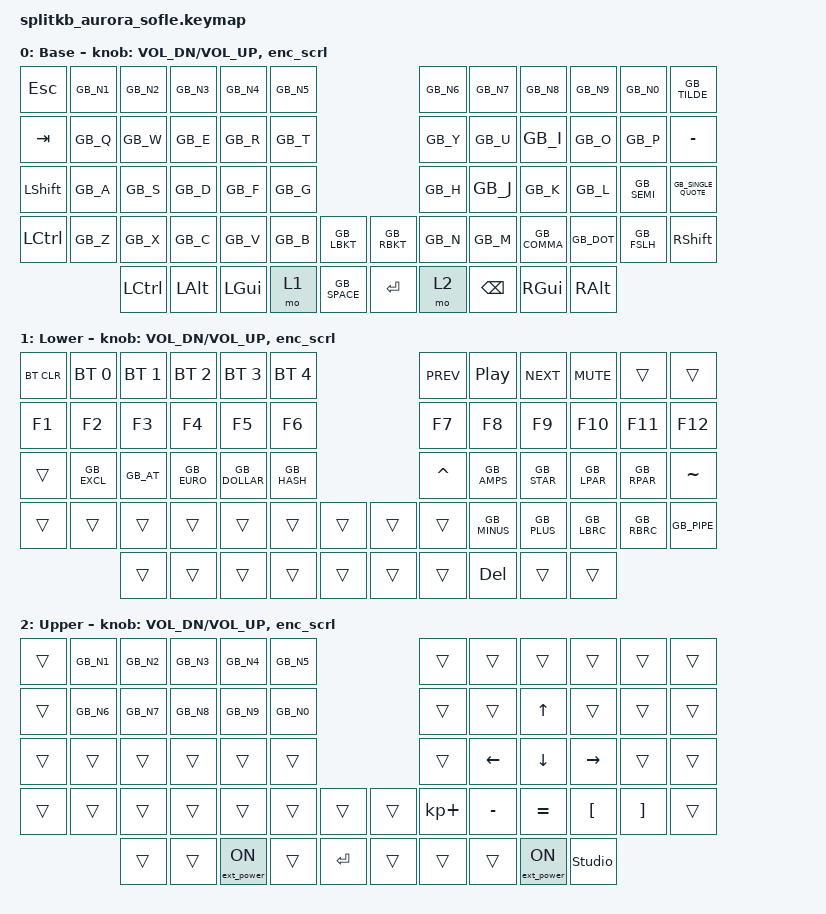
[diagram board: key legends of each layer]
/*
 * Copyright (c) 2023 The ZMK Contributors
 *
 * SPDX-License-Identifier: MIT
 */

#include <behaviors.dtsi>
#include <dt-bindings/zmk/keys.h>
#include <dt-bindings/zmk/bt.h>
#include <dt-bindings/zmk/ext_power.h>
#include <locale/keys_en_gb_extended.h>
#include <dt-bindings/zmk/pointing.h>

/* Uncomment this block if using RGB
&led_strip {
    chain-length = <6>;
    // chain-length = <35>; // Uncomment if using both per-key and underglow LEDs
    // chain-length = <29>; // Uncomment if using only per-key LEDs.
};
 */

&nice_view_spi {
    cs-gpios = <&pro_micro 0 GPIO_ACTIVE_HIGH>;
};

/ {
    behaviors {
        msc: mouse_scroll {
            compatible = "zmk,behavior-input-two-axis";
            x-input-code = <INPUT_REL_HWHEEL>;
            y-input-code = <INPUT_REL_WHEEL>;
            time-to-max-speed-ms = <20>;
            acceleration-exponent = <0>;
        };
        enc_scrl: encoder_scroll {
            compatible = "zmk,behavior-sensor-rotate";
            #sensor-binding-cells = <0>;
            tap-ms = <150>;
            bindings = <&msc SCRL_UP>, <&msc SCRL_DOWN>;
        };
    };

    keymap {
        compatible = "zmk,keymap";

        default_layer {
            display-name = "Base";
// ------------------------------------------------------------------------------------------------------------
// |  ESC  |  1  |  2  |  3   |  4   |  5   |                   |  6   |  7    |  8    |  9   |   0   |   `   |
// |  TAB  |  Q  |  W  |  E   |  R   |  T   |                   |  Y   |  U    |  I    |  O   |   P   |   -   |
// |  CTRL |  A  |  S  |  D   |  F   |  G   |                   |  H   |  J    |  K    |  L   |   ;   |   '   |
// | SHIFT |  Z  |  X  |  C   |  V   |  B   |   "["  |  |  "]"  |  N   |  M    |  ,    |  .   |   /   | SHIFT |
//               |CTRL | ALT  | GUI  | LOWER|  SPACE |  | ENTER | RAISE| BSPC  | GUI   | RALT |
            bindings = <
&kp ESC   &kp GB_N1 &kp GB_N2 &kp GB_N3 &kp GB_N4 &kp GB_N5                          &kp GB_N6 &kp GB_N7 &kp GB_N8    &kp GB_N9  &kp GB_N0   &kp GB_TILDE
&kp TAB   &kp GB_Q  &kp GB_W  &kp GB_E  &kp GB_R  &kp GB_T                           &kp GB_Y  &kp GB_U  &kp GB_I     &kp GB_O   &kp GB_P    &kp MINUS
&kp LSHFT &kp GB_A  &kp GB_S  &kp GB_D  &kp GB_F  &kp GB_G                           &kp GB_H  &kp GB_J  &kp GB_K     &kp GB_L   &kp GB_SEMI &kp GB_SINGLE_QUOTE
&kp LCTRL &kp GB_Z  &kp GB_X  &kp GB_C  &kp GB_V  &kp GB_B  &kp GB_LBKT  &kp GB_RBKT &kp GB_N  &kp GB_M  &kp GB_COMMA &kp GB_DOT &kp GB_FSLH &kp RSHFT
                    &kp LCTRL &kp LALT  &kp LGUI  &mo 1     &kp GB_SPACE &kp RET     &mo 2     &kp BSPC  &kp RGUI     &kp RALT
            >;

            sensor-bindings = <&inc_dec_kp C_VOL_DN C_VOL_UP &enc_scrl>;
        };

        lower_layer {
            display-name = "Lower";
// ------------------------------------------------------------------------------------------------------------
// | BTCLR | BT1 | BT2 |  BT3 |  BT4 |  BT5 |                   |      |       |       |      |       |       |
// |  F1   |  F2 |  F3 |  F4  |  F5  |  F6  |                   |  F7  |  F8   |  F9   |  F10 |  F11  |  F12  |
// |   `   |  !  |  @  |  #   |  $   |  %   |                   |  ^   |  &    |  *    |  (   |   )   |   ~   |
// |       |     |     |      |      |      |        |  |       |      |  _    |  +    |  {   |   }   |  "|"  |
//               |     |      |      |      |        |  |       |      |       |       |      |
            bindings = <
&bt BT_CLR &bt BT_SEL 0 &bt BT_SEL 1 &bt BT_SEL 2 &bt BT_SEL 3  &bt BT_SEL 4                    &kp C_PREV &kp C_PP     &kp C_NEXT  &kp C_MUTE &trans      &trans
&kp F1     &kp F2       &kp F3       &kp F4       &kp F5        &kp F6                          &kp F7     &kp F8       &kp F9      &kp F10     &kp F11     &kp F12
&trans     &kp GB_EXCL  &kp GB_AT    &kp GB_EURO  &kp GB_DOLLAR &kp GB_HASH                     &kp CARET  &kp GB_AMPS  &kp GB_STAR &kp GB_LPAR &kp GB_RPAR &kp TILDE
&trans     &trans       &trans       &trans       &trans        &trans       &trans   &trans    &trans     &kp GB_MINUS &kp GB_PLUS &kp GB_LBRC &kp GB_RBRC &kp GB_PIPE
                        &trans       &trans       &trans        &trans       &trans   &trans    &trans     &kp DEL      &trans    &trans
            >;

            sensor-bindings = <&inc_dec_kp C_VOL_DN C_VOL_UP &enc_scrl>;
        };

        raise_layer {
            display-name = "Upper";
// ------------------------------------------------------------------------------------------------------------
// |       |  1  |  2  |  3   |  4   |  5   |                   |      |       |       |      |       |       |
// |   `   |  6  |  7  |  8   |  9   |  0   |                   |      |       |   ^   |      |       |       |
// |   F1  |  F2 |  F3 |  F4  |  F5  |  F6  |                   |      |   <-  |   v   |  ->  |       |       |
// |   F7  |  F8 |  F9 |  F10 |  F11 |  F12 |        |  |       |  +   |   -   |   =   |  [   |   ]   |   \   |
//               |     |      |EP TOG|      |        |  |       |      |       |EP TOG |      |
            bindings = <
&trans &kp GB_N1 &kp GB_N2 &kp GB_N3 &kp GB_N4         &kp GB_N5              &trans      &trans    &trans            &trans    &trans    &trans
&trans &kp GB_N6 &kp GB_N7 &kp GB_N8 &kp GB_N9         &kp GB_N0              &trans      &trans    &kp UP            &trans    &trans    &trans
&trans &trans    &trans    &trans    &trans            &trans                 &trans      &kp LEFT  &kp DOWN          &kp RIGHT &trans &trans
&trans &trans    &trans    &trans    &trans            &trans   &trans &trans &kp KP_PLUS &kp MINUS &kp EQUAL         &kp LBKT  &kp RBKT  &trans
                 &trans    &trans    &ext_power EP_ON  &trans   &kp RET &trans &trans      &trans     &ext_power EP_ON &studio_unlock
            >;

            sensor-bindings = <&inc_dec_kp C_VOL_DN C_VOL_UP &enc_scrl>;
        };
    };
};
